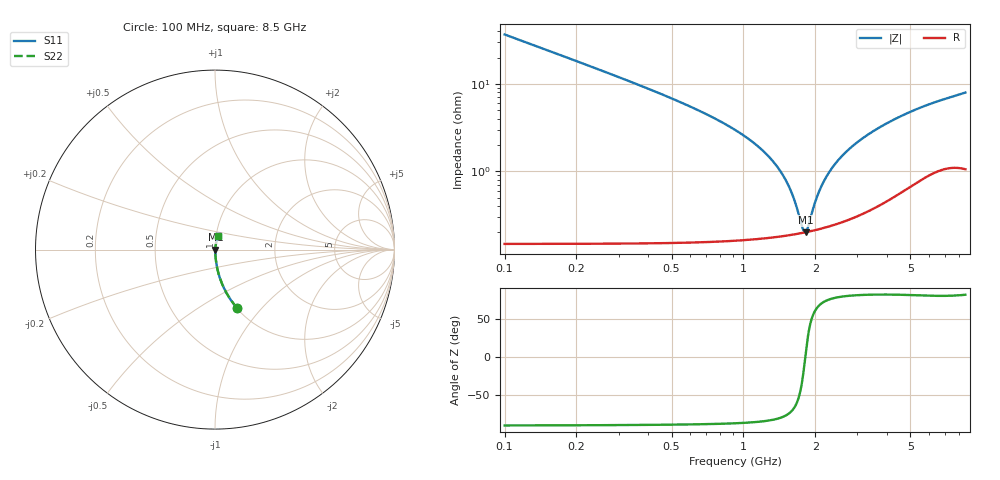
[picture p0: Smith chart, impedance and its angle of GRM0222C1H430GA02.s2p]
!Murata Part Number: GRM0222C1H430GA02
!These Parameters are Measured in Series Mode Connection
!Data Generated on Mar 30, 2021
!  o--ll--o
!Port1  Port2
!  o------o
!Operation Temp=25[degC], DC Bias Voltage=0[V]
!Freq. Start=100[MHz] Stop=9[GHz] 401[Steps]
# Hz S RI R 50
!Freq.(Hz) S11(Real) S11(Imag) S21(Real) S21(Imag) S12(Real) S12(Imag) S22(Real) S22(Imag)
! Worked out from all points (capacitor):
!   401 points, 100 MHz to 8.5 GHz, reference 50 ohm
!   read as one part in series: C = 43 pF near 142 MHz
!   lowest |Z| = 201 mohm at 1.822 GHz (marker M1)
!   series resonance near 1.815 GHz, so ESL is about 180 pH
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1e8  0.1208 -0.3239  0.8792 0.3239  0.8792 0.3239  0.1208 -0.3239
2.47e8  0.0226 -0.1435  0.9774 0.1435  0.9774 0.1435  0.0226 -0.1435
4.15e8  0.00856 -0.0837  0.9914 0.0837  0.9914 0.0837  0.00856 -0.0837
6.25e8  0.00423 -0.0519  0.9958 0.0519  0.9958 0.0519  0.00423 -0.0519
1.234e9  0.00196 -0.0161  0.998 0.0161  0.998 0.0161  0.00196 -0.0161
1.381e9  0.00189 -0.0112  0.9981 0.0112  0.9981 0.0112  0.00189 -0.0112
1.507e9  0.00188 -0.0076  0.9981 0.0076  0.9981 0.0076  0.00188 -0.0076
1.612e9  0.0019 -0.00483  0.9981 0.00483  0.9981 0.00483  0.0019 -0.00483
1.759e9  0.00196 -0.00127  0.998 0.00127  0.998 0.00127  0.00196 -0.00127
1.801e9  0.00199 -0.000311  0.998 0.000311  0.998 0.000311  0.00199 -0.000311
1.822e9  0.002 0.00016  0.998 -0.00016  0.998 -0.00016  0.002 0.00016
1.864e9  0.00203 0.00109  0.998 -0.00109  0.998 -0.00109  0.00203 0.00109
1.969e9  0.0021 0.00331  0.9979 -0.00331  0.9979 -0.00331  0.0021 0.00331
2.053e9  0.00218 0.00502  0.9978 -0.00502  0.9978 -0.00502  0.00218 0.00502
2.242e9  0.00237 0.00864  0.9976 -0.00864  0.9976 -0.00864  0.00237 0.00864
2.536e9  0.00274 0.0138  0.9973 -0.0138  0.9973 -0.0138  0.00274 0.0138
2.914e9  0.00334 0.0199  0.9967 -0.0199  0.9967 -0.0199  0.00334 0.0199
3.523e9  0.00457 0.0287  0.9954 -0.0287  0.9954 -0.0287  0.00457 0.0287
4.3e9  0.0066 0.0387  0.9934 -0.0387  0.9934 -0.0387  0.0066 0.0387
5.707e9  0.0112 0.054  0.9888 -0.054  0.9888 -0.054  0.0112 0.054
7.114e9  0.015 0.066  0.985 -0.066  0.985 -0.066  0.015 0.066
8.5e9  0.0165 0.077  0.9835 -0.077  0.9835 -0.077  0.0165 0.077
